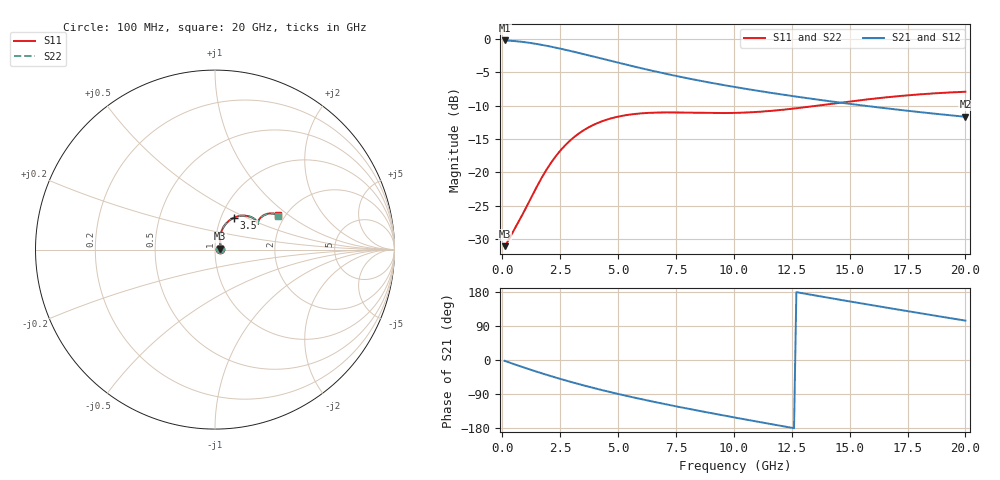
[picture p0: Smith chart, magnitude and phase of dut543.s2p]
! Touchstone file exported from HFSS 2024.1.0
!  File:  C:/UserFiles/LocalFiles/RDL_TSV_Batchsim/temp_RDL_TSV_543_1779747672.aedt
!  Generated:  06:39:53 AM May 26, 2026
!  Design:  RDL_TSV
!  Project:  temp_RDL_TSV_543_1779747672
!  Setup:  Setup1
!  Solution:  Sweep
! Variables:
!  dtsv = 8.65um
!  hbump = 3um
!  htsv = 91.21um
!  ldown = 373.57um
!  lrdl = 610.56um
!  p = 40
!  p1 = 49.88um
!  rhole = 10um
!  subl = 3562.95um
!  t = 450um
!  tdown = 2.06um
!  trdl = 2.64um
!  viad = 10um
!  wdown = 21.88um
!  wrdl = 17.68um
!  xbump = 18um
# GHz S MA R 50.000000
! Terminal data exported
! Port[1] = TM1_1_T1
! Port[2] = TM1_4_T1
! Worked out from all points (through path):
!   200 points, 100 MHz to 20 GHz, reference 50 ohm
!   highest |S21| = -0.25 dB at 100 MHz (marker M1); lowest = -11.7 dB at 20 GHz (marker M2)
!   group delay of S21, straight-line fit = 33.7 ps
!   lowest |S11| = -31.0 dB at 100 MHz (marker M3), VSWR 1.06, Z = 52.8 + j0.525 ohm
!   |S11| at or under -10 dB: start of sweep to 13.63 GHz
!   |S22| runs from -31.0 to -7.9 dB; largest |S21 - S12| = 4.3e-14
!   S11 on the Smith chart (normalised r, x): 100 MHz: 1.06, +0.01; 3.5 GHz: 1.15, +0.43; 20 GHz: 1.84, +0.84
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0.1  0.02803 10.2  0.9721 -2.2  0.9721 -2.2  0.02803 10.2
! Gamma 0 0 0 0
! Port Impedance 50 0 50 0
0.5  0.037 37.8  0.9629 -10.8  0.9629 -10.8  0.03699 37.8
0.9  0.04939 54.4  0.9471 -19.1  0.9471 -19.1  0.04938 54.4
1.4  0.07289 66.8  0.9203 -29.2  0.9203 -29.2  0.0729 66.9
1.8  0.09751 70.3  0.8947 -36.9  0.8947 -36.9  0.09754 70.3
2.2  0.1246 70.0  0.8666 -44.4  0.8666 -44.4  0.1247 70.0
2.6  0.1519 67.6  0.8371 -51.6  0.8371 -51.6  0.1519 67.7
3  0.1776 64.2  0.8069 -58.5  0.8069 -58.5  0.1777 64.2
3.5  0.2061 59.3  0.7691 -66.8  0.7691 -66.8  0.2062 59.4
4.2  0.2375 52.5  0.7177 -77.8  0.7177 -77.8  0.2377 52.5
5.1  0.2636 44.8  0.6565 -91.0  0.6565 -91.0  0.2639 44.8
5.9  0.2757 39.3  0.608 -101.9  0.608 -101.9  0.2762 39.3
6.8  0.2807 34.8  0.5601 -113.6  0.5601 -113.6  0.2813 34.8
7.6  0.2808 32.3  0.5231 -123.4  0.5231 -123.4  0.2814 32.2
8.4  0.2792 31.0  0.4906 -133.0  0.4906 -133.0  0.2798 30.9
10.1  0.279 31.4  0.4339 -152.5  0.4339 -152.5  0.2796 31.3
11.7  0.2897 33.5  0.3917 -170.2  0.3917 -170.2  0.29 33.3
13.4  0.3125 35.1  0.355 171.5  0.355 171.5  0.3125 34.9
15.1  0.3409 35.0  0.3244 153.6  0.3244 153.6  0.3406 34.7
16.7  0.3664 33.4  0.3 137.1  0.3 137.1  0.3658 33.2
18.3  0.3869 31.1  0.2793 120.9  0.2793 120.9  0.3861 30.9
20  0.4015 28.4  0.2609 103.9  0.2609 103.9  0.4005 28.3
